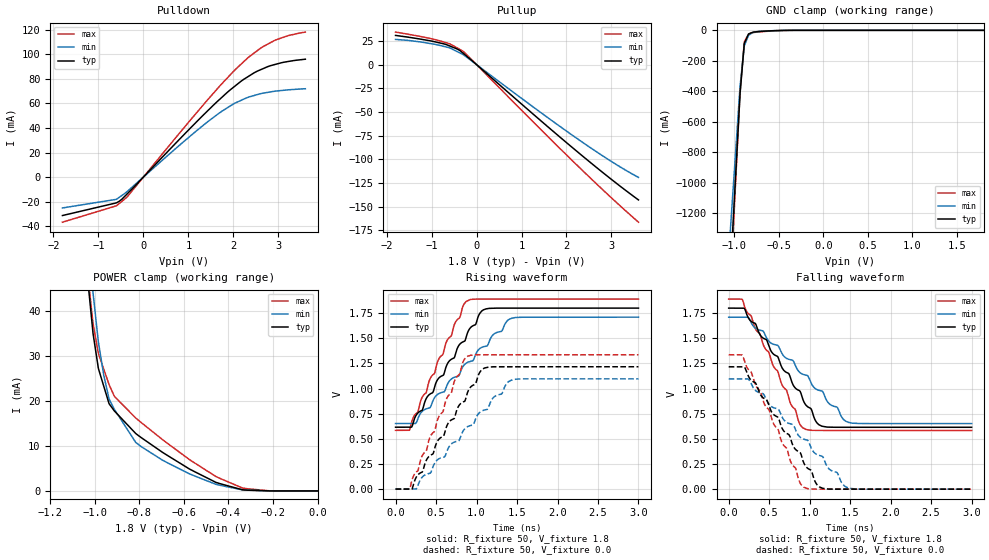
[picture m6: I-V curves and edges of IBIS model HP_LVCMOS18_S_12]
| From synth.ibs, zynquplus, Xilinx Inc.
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[Model] HP_LVCMOS18_S_12
Model_type I/O
Polarity   Non-Inverting
Enable   Active-Low
Vinl =   0.6300V
Vinh =   1.1700V
Vmeas =  0.9000V
Cref =   0.0000F
Rref =   1.0000M
Vref =   0.0000V
C_comp   2.69373293702p   2.69341016229p   2.69529909352p
C_comp_pullup   808.119881107f   808.023048688f   808.589728055f
C_comp_pulldown   1.88561305592p   1.8853871136p   1.88670936546p
[Temperature Range]   25.0000   100.0000   0.0
[Voltage Range]   1.8000V   1.7100V   1.8900V
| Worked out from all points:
|   slope of the pulldown table from 0 to 0.27 V, typ, clamps not added: 25.9 ohm
|   slope of the pullup table from 0 to 0.27 V, typ, clamps not added: 23.9 ohm
|   GND clamp passes 1 mA (typ) near -0.48 V on its own axis
|   POWER clamp passes 1 mA (typ) near -0.39 V on its own axis
|   rising waveform, R_fixture 50, V_fixture 1.8: 20-80 % time 538ps typ, 719ps min, 424ps max; typ from 0.615 V to 1.8 V
|   rising waveform, R_fixture 50, V_fixture 0.0: 20-80 % time 536ps typ, 718ps min, 423ps max; typ from 0 V to 1.22 V
|   falling waveform, R_fixture 50, V_fixture 1.8: 20-80 % time 570ps typ, 754ps min, 455ps max; typ from 1.8 V to 0.615 V
|   falling waveform, R_fixture 50, V_fixture 0.0: 20-80 % time 566ps typ, 749ps min, 453ps max; typ from 1.22 V to 0 V
[Pulldown]
|Voltage   I(typ)   I(min)   I(max)
-1.8V     -31.39mA   -25.2mA    -36.81mA
-600mV    -21.05mA   -18.17mA   -23.45mA
-480mV    -18.14mA   -15.07mA   -19.89mA
-360mV    -13.7mA    -11.8mA    -16.15mA
780mV     29.96mA    25.24mA    34.82mA
1.44V     54.45mA    45.43mA    63.52mA
1.98V     72.58mA    59.13mA    85.31mA
2.28V     80.84mA    64.39mA    95.82mA
2.64V     88.1mA     68.3mA     106mA
2.94V     91.98mA    70.11mA    111.8mA
3.24V     94.39mA    71.2mA     115.6mA
3.6V      96.13mA    72.04mA    118.2mA
[Pullup]
|Voltage   I(typ)   I(min)   I(max)
-1.8V     30.79mA    26.59mA    34.3mA
-1.2V     26.5mA     23.57mA    29.25mA
-720mV    21.8mA     19.1mA     23.7mA
-600mV    19.73mA    17.69mA    22.03mA
-420mV    16.26mA    13.48mA    17.33mA
-300mV    12.09mA    10.63mA    14.1mA
1.2V      -49.84mA   -42.64mA   -57.65mA
2.1V      -86.33mA   -73.55mA   -99.98mA
2.94V     -118.9mA   -100.5mA   -138mA
3.6V      -142.8mA   -119.1mA   -166.3mA
[GND_clamp]
|Voltage   I(typ)   I(min)   I(max)
-1.8V     -9.812A    -7.871A    -10.69A
-1.08V    -1.976A    -1.617A    -2.115A
-1.032V   -1.454A    -1.2A      -1.545A
-984mV    -933.7mA   -784.5mA   -975.9mA
-936mV    -414.2mA   -368.9mA   -408.7mA
-888mV    -85.1mA    -101.1mA   -75.37mA
-840mV    -23.78mA   -32.36mA   -24.02mA
-792mV    -12.17mA   -14.48mA   -14.81mA
-744mV    -8.706mA   -8.441mA   -11.52mA
-456mV    -716.8uA   -706.2uA   -1.236mA
1.8V      4.55nA     280.1nA    4.678nA
[Power_clamp]
|Voltage   I(typ)   I(min)   I(max)
-1.8V     2.015A     1.979A     2.041A
-1.032V   46.94mA    59.82mA    48.06mA
-1.008V   34.93mA    43.92mA    37.14mA
-984mV    27.15mA    33.02mA    30.47mA
-960mV    23.25mA    25.7mA     27.02mA
-936mV    19.35mA    20.39mA    23.58mA
-912mV    17.72mA    18.07mA    20.95mA
-816mV    12.71mA    10.74mA    16.16mA
-576mV    4.888mA    3.807mA    6.984mA
-456mV    1.889mA    1.464mA    3.187mA
-336mV    241.9uA    225.6uA    632.7uA
0V        30.27nA    15.03nA    8.879nA
[Ramp]
|variable   typ   min   max
dV/dt_r   0.7305/0.5361n   0.6585/0.7181n   0.8020/0.4234n
dV/dt_f   0.7110/0.5696n   0.6349/0.7535n   0.7837/0.4551n
R_load=50
[Rising Waveform]
R_fixture=50
V_fixture=1.8
V_fixture_min=1.71
V_fixture_max=1.89
|time   V(typ)   V(min)   V(max)
0s        615.2mV    651.9mV    583.8mV
172.5ps   615.2mV    651.9mV    586.1mV
255ps     735.5mV    658.9mV    751.9mV
332.5ps   788.3mV    775.9mV    918.5mV
385ps     909.2mV    799.7mV    976.3mV
525ps     1.095V     945.1mV    1.279V
872.5ps   1.513V     1.253V     1.866V
1.08ns    1.781V     1.415V     1.89V
1.438ns   1.8V       1.7V       1.89V
3ns       1.8V       1.71V      1.89V
[Rising Waveform]
R_fixture=50
V_fixture=0.0
0s        0V         1.412uV    0V
177.5ps   -39.53uV   0V         6.867mV
257.5ps   120.8mV    2.666mV    170.2mV
332.5ps   172.3mV    121.5mV    336.2mV
380ps     286.7mV    147.1mV    379.7mV
630ps     622mV      367mV      898.4mV
887.5ps   957.6mV    620.2mV    1.32V
1.075ns   1.194V     780.3mV    1.336V
1.445ns   1.217V     1.087V     1.336V
3ns       1.217V     1.096V     1.336V
[Falling Waveform]
R_fixture=50
V_fixture=1.8
V_fixture_min=1.71
V_fixture_max=1.89
|time   V(typ)   V(min)   V(max)
0s        1.8V       1.71V      1.89V
170ps     1.8V       1.71V      1.884V
427.5ps   1.501V     1.569V     1.436V
715ps     1.16V      1.3V       981.9mV
795ps     1.038V     1.278V     812.7mV
880ps     974.6mV    1.16V      644.2mV
952.5ps   837.2mV    1.134V     593.6mV
1.145ns   627.4mV    977.5mV    583.8mV
1.478ns   615.2mV    664.2mV    583.8mV
3ns       615.2mV    651.9mV    583.8mV
[Falling Waveform]
R_fixture=50
V_fixture=0.0
0s        1.217V     1.096V     1.336V
170ps     1.217V     1.096V     1.33V
247.5ps   1.117V     1.091V     1.186V
507.5ps   807.8mV    834.1mV    770.2mV
612.5ps   708.2mV    794.7mV    588.9mV
657.5ps   608.5mV    719.5mV    466.2mV
925ps     266.1mV    497.2mV    20.25mV
1.117ns   23.41mV    335.3mV    50.74uV
1.475ns   0V         13.49mV    0V
3ns       0V         1.408uV    0V
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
